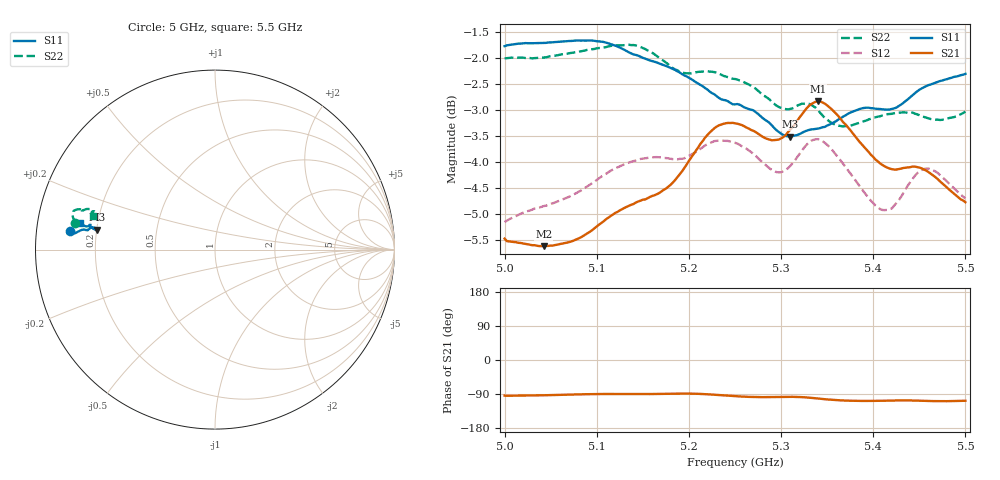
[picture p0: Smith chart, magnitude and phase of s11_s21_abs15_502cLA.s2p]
! MS46122B
! 1919307/90821646
! 7/29/2022 3:00:59 PM
! C:\USERS\PC_\DESKTOP\MEDICIONES\BANCHA ESTRECHA\5_55GHZ\S11_S21_ABS15_502CL.S2P
! CHANNEL.1
! TR.MEASUREMENT
! CORRECTED.DATA
# GHZ S RI R 50.0
! FREQ.GHZ  S11RE  S11IM  S21RE  S21IM  S12RE  S12IM  S22RE  S22IM
!; PortSelection: Port_12
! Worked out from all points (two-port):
!   201 points, 5 GHz to 5.5 GHz, reference 50 ohm
!   highest |S21| = -2.83 dB at 5.34 GHz (marker M1); lowest = -5.6 dB at 5.043 GHz (marker M2)
!   |S21| within 3 dB of the highest: start of sweep to end of sweep
!   lowest |S11| = -3.5 dB at 5.31 GHz (marker M3), VSWR 5.01, Z = 10 + j4.04 ohm
!   |S11| at or under -10 dB: nowhere
!   |S22| runs from -3.3 to -1.7 dB; largest |S21 - S12| = 0.079
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5  -0.809 0.1041  -0.0373 -0.5309  0.00954 -0.552  -0.7802 0.1472
5.0425  -0.8165 0.0923  -0.0276 -0.5226  0.00578 -0.572  -0.7803 0.1543
5.085  -0.8208 0.0917  -0.00444 -0.5351  0.00342 -0.5938  -0.7884 0.1726
5.135  -0.7989 0.0937  0.00193 -0.5724  -0.0257 -0.6295  -0.7912 0.2082
5.1675  -0.7798 0.091  0.00583 -0.5886  -0.0495 -0.6355  -0.7632 0.2242
5.19  -0.7628 0.1006  0.0158 -0.6135  -0.0558 -0.6327  -0.7383 0.2196
5.2075  -0.7451 0.1087  0.0108 -0.6466  -0.0593 -0.6423  -0.7402 0.211
5.23  -0.7219 0.1097  -0.0246 -0.6818  -0.0832 -0.6559  -0.7372 0.2188
5.25  -0.7086 0.1088  -0.0656 -0.6844  -0.1102 -0.6489  -0.7249 0.2229
5.2775  -0.6879 0.1217  -0.0924 -0.6629  -0.1267 -0.6202  -0.7 0.2258
5.295  -0.6662 0.1201  -0.0866 -0.6568  -0.1131 -0.6064  -0.6825 0.2125
5.31  -0.658 0.1115  -0.0846 -0.6724  -0.0997 -0.6172  -0.6809 0.1999
5.335  -0.6689 0.1128  -0.129 -0.7075  -0.1303 -0.6496  -0.6815 0.2126
5.34  -0.6697 0.1138  -0.1455 -0.7069  -0.1422 -0.6482  -0.6748 0.2137
5.355  -0.6773 0.1159  -0.1845 -0.6846  -0.169 -0.6261  -0.6573 0.2019
5.375  -0.6921 0.128  -0.2031 -0.646  -0.1754 -0.5898  -0.6581 0.1845
5.4025  -0.6953 0.1437  -0.1952 -0.6033  -0.1456 -0.5537  -0.6709 0.1876
5.4175  -0.6947 0.1397  -0.1844 -0.5939  -0.1181 -0.5554  -0.6744 0.1936
5.435  -0.7103 0.1295  -0.1781 -0.5969  -0.1014 -0.585  -0.6745 0.202
5.455  -0.7322 0.1357  -0.189 -0.591  -0.1246 -0.6083  -0.666 0.2059
5.4775  -0.7434 0.1438  -0.1907 -0.5676  -0.1503 -0.5882  -0.6662 0.1937
5.5  -0.7523 0.1494  -0.1743 -0.5499  -0.1382 -0.5652  -0.6804 0.1862
